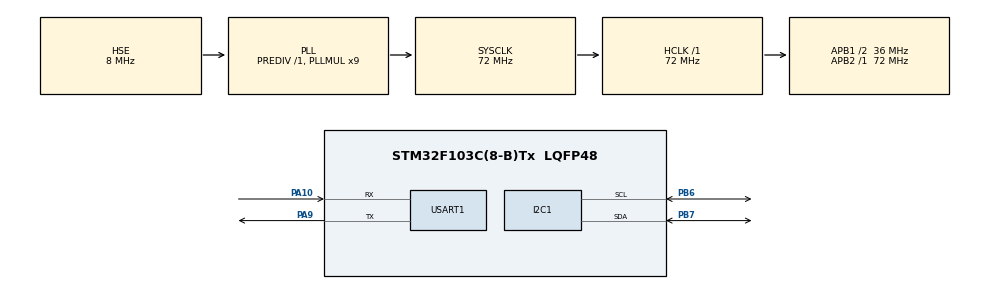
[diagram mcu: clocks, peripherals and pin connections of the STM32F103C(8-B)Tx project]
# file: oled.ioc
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I2C1.I2C_Mode=I2C_Fast
Mcu.Family=STM32F1
Mcu.Name=STM32F103C(8-B)Tx
Mcu.Package=LQFP48
NVIC.PriorityGroup=NVIC_PRIORITYGROUP_4
PA10.Mode=Asynchronous
PA10.Signal=USART1_RX
PA9.Mode=Asynchronous
PA9.Signal=USART1_TX
PB6.Mode=I2C
PB6.Signal=I2C1_SCL
PB7.Mode=I2C
PB7.Signal=I2C1_SDA
PC14-OSC32_IN.Mode=LSE-External-Oscillator
PC14-OSC32_IN.Signal=RCC_OSC32_IN
PC15-OSC32_OUT.Mode=LSE-External-Oscillator
PC15-OSC32_OUT.Signal=RCC_OSC32_OUT
PD0-OSC_IN.Mode=HSE-External-Oscillator
PD0-OSC_IN.Signal=RCC_OSC_IN
PD1-OSC_OUT.Mode=HSE-External-Oscillator
PD1-OSC_OUT.Signal=RCC_OSC_OUT
ProjectManager.HeapSize=0x200
ProjectManager.StackSize=0x400
ProjectManager.TargetToolchain=STM32CubeIDE
RCC.AHBFreq_Value=72000000
RCC.APB1CLKDivider=RCC_HCLK_DIV2
RCC.APB1Freq_Value=36000000
RCC.APB1TimFreq_Value=72000000
RCC.APB2Freq_Value=72000000
RCC.APB2TimFreq_Value=72000000
RCC.HCLKFreq_Value=72000000
RCC.PLLMUL=RCC_PLL_MUL9
RCC.PLLSourceVirtual=RCC_PLLSOURCE_HSE
RCC.SYSCLKFreq_VALUE=72000000
RCC.SYSCLKSource=RCC_SYSCLKSOURCE_PLLCLK
RCC.USBFreq_Value=72000000
USART1.VirtualMode=VM_ASYNC
VP_SYS_VS_ND.Mode=No_Debug
board=custom

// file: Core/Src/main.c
/* USER CODE BEGIN Header */
/**
  ******************************************************************************
  * @file           : main.c
  * @brief          : Main program body
  ******************************************************************************
  * @attention
  *
  * Copyright (c) 2023 STMicroelectronics.
  * All rights reserved.
  *
  * This software is licensed under terms that can be found in the LICENSE file
  * in the root directory of this software component.
  * If no LICENSE file comes with this software, it is provided AS-IS.
  *
  ******************************************************************************
  */
/* USER CODE END Header */
#include "main.h"
#include "i2c.h"
#include "usart.h"
#include "gpio.h"

/* USER CODE BEGIN Includes */
#include "oled.h"
#include "font.h"
/* USER CODE END Includes */

void SystemClock_Config(void);

int main(void)
{

  /* MCU Configuration--------------------------------------------------------*/

  /* Reset of all peripherals, Initializes the Flash interface and the Systick. */
  HAL_Init();

  /* Configure the system clock */
  SystemClock_Config();

  /* Initialize all configured peripherals */
  MX_GPIO_Init();
  MX_I2C1_Init();
  MX_USART1_UART_Init();
  oled_init();

  /*绘图实验
  oled_newram();
  oled_drawimage(10,10,&dsImg,OLED_COLOR_NORMAL);
  oled_writeram(GRAM);
   */

  /* Infinite loop */
  /* USER CODE BEGIN WHILE */
  while (1)
  {
      oled_newram();
      oled_drawrectangle(20,10,50,30,0);
      oled_writeram(GRAM);
      HAL_Delay(1000);
      for(int i=0;i<20;i++){
          oled_newram();
          oled_drawrectangle(20,10+i,50,30+i,0);
          oled_writeram(GRAM);
          HAL_Delay(10);
      }
      oled_newram();
      oled_drawrectangle(20,30,50,50,0);
      oled_writeram(GRAM);
      HAL_Delay(1000);
//      for(uint8_t i=0;i<64;i++)
//      {
//          oled_newram();        //清空缓存
//          oled_draw_pixel(2*i,i);
//          oled_writeram();
//      }
    /* USER CODE END WHILE */

  }
}

void SystemClock_Config(void)
{
  RCC_OscInitTypeDef RCC_OscInitStruct = {0};
  RCC_ClkInitTypeDef RCC_ClkInitStruct = {0};

  /** Initializes the RCC Oscillators according to the specified parameters
  * in the RCC_OscInitTypeDef structure.
  */
  RCC_OscInitStruct.OscillatorType = RCC_OSCILLATORTYPE_HSE;
  RCC_OscInitStruct.HSEState = RCC_HSE_ON;
  RCC_OscInitStruct.HSEPredivValue = RCC_HSE_PREDIV_DIV1;
  RCC_OscInitStruct.HSIState = RCC_HSI_ON;
  RCC_OscInitStruct.PLL.PLLState = RCC_PLL_ON;
  RCC_OscInitStruct.PLL.PLLSource = RCC_PLLSOURCE_HSE;
  RCC_OscInitStruct.PLL.PLLMUL = RCC_PLL_MUL9;
  if (HAL_RCC_OscConfig(&RCC_OscInitStruct) != HAL_OK)
  {
    Error_Handler();
  }

  /** Initializes the CPU, AHB and APB buses clocks
  */
  RCC_ClkInitStruct.ClockType = RCC_CLOCKTYPE_HCLK|RCC_CLOCKTYPE_SYSCLK
                              |RCC_CLOCKTYPE_PCLK1|RCC_CLOCKTYPE_PCLK2;
  RCC_ClkInitStruct.SYSCLKSource = RCC_SYSCLKSOURCE_PLLCLK;
  RCC_ClkInitStruct.AHBCLKDivider = RCC_SYSCLK_DIV1;
  RCC_ClkInitStruct.APB1CLKDivider = RCC_HCLK_DIV2;
  RCC_ClkInitStruct.APB2CLKDivider = RCC_HCLK_DIV1;

  if (HAL_RCC_ClockConfig(&RCC_ClkInitStruct, FLASH_LATENCY_2) != HAL_OK)
  {
    Error_Handler();
  }
}

void Error_Handler(void)
{
  __disable_irq();
  while (1)
  {
  }
}
